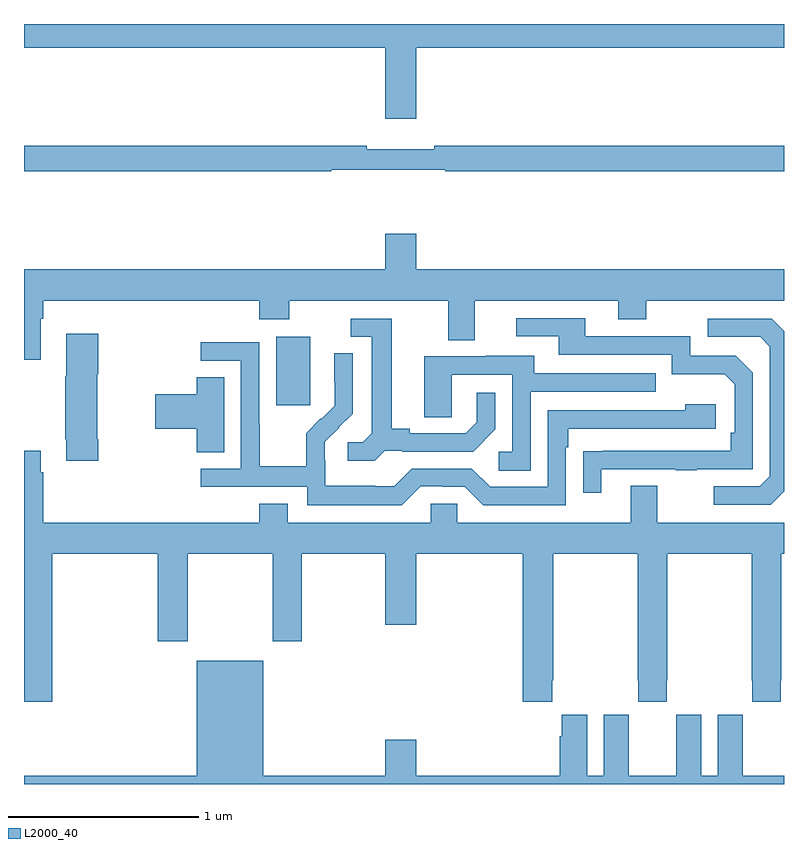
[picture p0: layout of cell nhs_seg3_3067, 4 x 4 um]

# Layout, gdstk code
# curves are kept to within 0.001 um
import gdstk
lib = gdstk.Library(unit=1e-6, precision=1e-09)
def R(c, l, rs):  # rectangles x0, y0, x1, y1
    for r in rs: c.add(gdstk.rectangle(r[:2], r[2:], *l))
def P(c, l, *ps):  # polygons
    for p in ps: c.add(gdstk.Polygon(p, *l))
L2000_40 = (2000, 40)

nhs_seg3_3067 = lib.new_cell('nhs_seg3_3067')
R(nhs_seg3_3067, L2000_40, [(272.327,672.393,272.506,672.754)])
P(nhs_seg3_3067, L2000_40, [(273.064,674.276),(275,674.276),(275,674.4),(271,674.4),(271,674.276),(272.9,674.276),(272.9,673.902),(273.064,673.902)],
  [(272.618,673.632),(273.218,673.632),(273.218,673.624),(275,673.624),(275,673.76),(273.16,673.76),(273.16,673.741),(272.804,673.741),(272.804,673.76),(271,673.76),(271,673.624),(272.618,673.624)],
  [(271.087,672.848),(271.1,672.848),(271.1,672.944),(272.237,672.944),(272.237,672.845),(272.397,672.845),(272.397,672.944),(273.233,672.944),(273.233,672.736),(273.373,672.736),(273.373,672.944),(274.127,672.944),(274.127,672.845),(274.275,672.845),(274.275,672.944),(275,672.944),(275,673.108),(273.064,673.108),(273.064,673.297),(272.9,673.297),(272.9,673.108),(271,673.108),(271,672.633),(271.087,672.633)],
  [(274.039,672.057),(274.429,672.057),(274.429,672.052),(274.541,672.052),(274.541,672.057),(274.836,672.057),(274.836,672.564),(274.746,672.654),(274.506,672.654),(274.506,672.756),(273.955,672.756),(273.955,672.852),(273.591,672.852),(273.591,672.756),(273.815,672.756),(273.815,672.66),(274.41,672.66),(274.41,672.557),(274.687,672.557),(274.74,672.504),(274.74,672.25),(274.72,672.25),(274.72,672.153),(273.943,672.152),(273.943,671.934),(274.039,671.934)],
  [(275,671.942),(275,672.784),(274.935,672.849),(274.599,672.849),(274.599,672.753),(274.875,672.753),(274.926,672.702),(274.926,672.021),(274.872,671.967),(274.629,671.967),(274.629,671.871),(274.929,671.871)],
  [(272.898,672.153),(272.992,672.153),(272.992,672.15),(273.364,672.15),(273.48,672.266),(273.48,672.46),(273.383,672.46),(273.383,672.303),(273.326,672.246),(273.031,672.246),(273.031,672.269),(272.935,672.269),(272.935,672.849),(272.721,672.849),(272.721,672.753),(272.831,672.753),(272.831,672.245),(272.784,672.198),(272.703,672.198),(272.703,672.101),(272.846,672.101)],
  [(271.391,672.214),(271.386,672.214),(271.386,672.556),(271.391,672.556),(271.391,672.769),(271.223,672.769),(271.223,672.545),(271.216,672.545),(271.216,672.214),(271.223,672.214),(271.223,672.102),(271.391,672.102)],
  [(273.087,671.967),(273.203,671.967),(273.203,671.964),(273.321,671.964),(273.417,671.868),(273.852,671.868),(273.852,672.173),(273.865,672.173),(273.865,672.27),(274.642,672.27),(274.642,672.4),(274.481,672.4),(274.481,672.366),(273.756,672.366),(273.756,671.964),(273.453,671.964),(273.357,672.06),(273.042,672.06),(272.949,671.967),(272.849,671.967),(272.849,671.971),(272.586,671.971),(272.586,672.105),(272.584,672.105),(272.584,672.202),(272.73,672.35),(272.73,672.668),(272.634,672.668),(272.634,672.514),(272.636,672.514),(272.636,672.392),(272.565,672.321),(272.562,672.324),(272.485,672.247),(272.485,672.073),(272.241,672.073),(272.241,672.296),(272.238,672.296),(272.238,672.726),(271.929,672.726),(271.929,672.627),(272.142,672.627),(272.142,672.06),(271.929,672.06),(271.929,671.964),(272.49,671.964),(272.49,671.867),(272.987,671.867)],
  [(273.666,672.465),(274.325,672.465),(274.325,672.561),(273.685,672.561),(273.685,672.655),(273.431,672.655),(273.431,672.651),(273.107,672.651),(273.107,672.331),(273.252,672.331),(273.252,672.555),(273.57,672.555),(273.57,672.15),(273.498,672.15),(273.498,672.049),(273.666,672.049)],
  [(272.053,672.542),(271.91,672.542),(271.91,672.452),(271.692,672.452),(271.692,672.269),(271.91,672.269),(271.91,672.145),(272.053,672.145)],
  [(271.148,671.612),(271.703,671.612),(271.703,671.151),(271.863,671.151),(271.863,671.612),(272.308,671.612),(272.308,671.151),(272.463,671.151),(272.463,671.612),(272.9,671.612),(272.9,671.238),(273.064,671.238),(273.064,671.612),(273.626,671.612),(273.626,670.833),(273.779,670.833),(273.779,670.945),(273.786,670.945),(273.786,671.612),(274.231,671.612),(274.231,670.945),(274.233,670.945),(274.233,670.833),(274.383,670.833),(274.383,670.945),(274.386,670.945),(274.386,671.612),(274.831,671.612),(274.831,670.945),(274.833,670.945),(274.833,670.833),(274.983,670.833),(274.983,670.945),(274.986,670.945),(274.986,671.612),(275,671.612),(275,671.776),(274.333,671.776),(274.333,671.971),(274.193,671.971),(274.193,671.776),(273.279,671.776),(273.279,671.874),(273.141,671.874),(273.141,671.776),(272.389,671.776),(272.389,671.875),(272.237,671.875),(272.237,671.776),(271.1,671.776),(271.1,672.041),(271.087,672.041),(271.087,672.154),(271,672.154),(271,670.833),(271.148,670.833)],
  [(275,670.444),(274.783,670.444),(274.783,670.652),(274.782,670.652),(274.782,670.765),(274.652,670.765),(274.652,670.444),(274.564,670.444),(274.564,670.765),(274.434,670.765),(274.434,670.652),(274.433,670.652),(274.433,670.444),(274.183,670.444),(274.183,670.652),(274.182,670.652),(274.182,670.765),(274.052,670.765),(274.052,670.444),(273.964,670.444),(273.964,670.765),(273.83,670.765),(273.83,670.652),(273.821,670.652),(273.821,670.444),(273.064,670.444),(273.064,670.633),(272.9,670.633),(272.9,670.444),(272.26,670.444),(272.26,671.05),(271.91,671.05),(271.91,670.444),(271,670.444),(271,670.4),(275,670.4)])

lib.write_gds('nhs_seg3_3067.gds')
